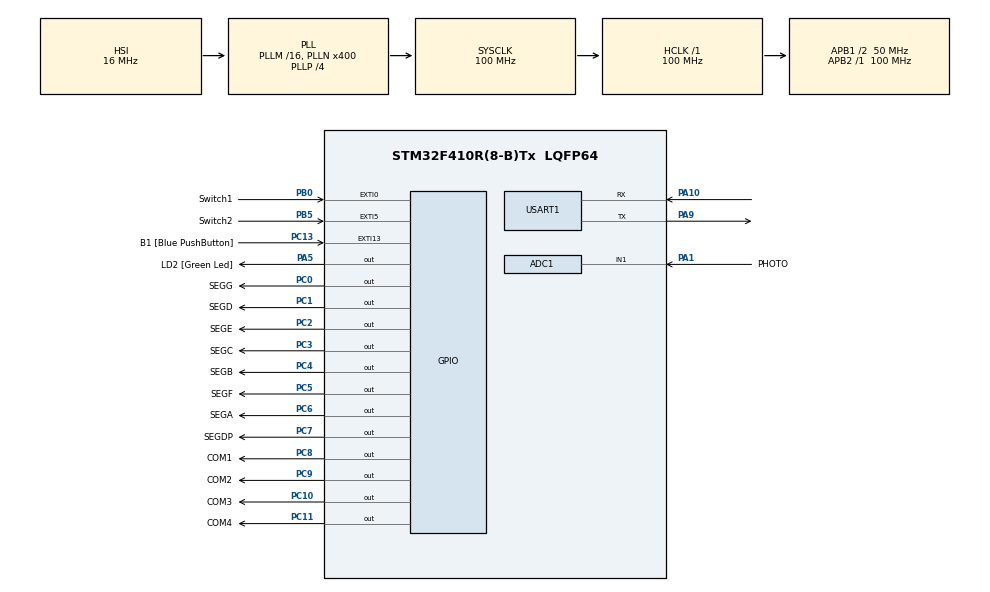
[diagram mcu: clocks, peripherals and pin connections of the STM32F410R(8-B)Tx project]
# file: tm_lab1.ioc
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ADC1.Channel-0\#ChannelRegularConversion=ADC_CHANNEL_1
ADC1.ClockPrescaler=ADC_CLOCK_SYNC_PCLK_DIV8
ADC1.ContinuousConvMode=ENABLE
ADC1.NbrOfConversionFlag=1
ADC1.Rank-0\#ChannelRegularConversion=1
ADC1.SamplingTime-0\#ChannelRegularConversion=ADC_SAMPLETIME_480CYCLES
ADC1.ScanConvMode=ENABLE
ADC1.master=1
Dma.Request0=USART1_RX
Dma.Request1=USART1_TX
Dma.USART1_RX.0.Direction=DMA_PERIPH_TO_MEMORY
Dma.USART1_RX.0.FIFOMode=DMA_FIFOMODE_DISABLE
Dma.USART1_RX.0.Instance=DMA2_Stream2
Dma.USART1_RX.0.MemDataAlignment=DMA_MDATAALIGN_BYTE
Dma.USART1_RX.0.MemInc=DMA_MINC_ENABLE
Dma.USART1_RX.0.Mode=DMA_NORMAL
Dma.USART1_RX.0.PeriphDataAlignment=DMA_PDATAALIGN_BYTE
Dma.USART1_RX.0.PeriphInc=DMA_PINC_DISABLE
Dma.USART1_RX.0.Priority=DMA_PRIORITY_LOW
Dma.USART1_TX.1.Direction=DMA_MEMORY_TO_PERIPH
Dma.USART1_TX.1.FIFOMode=DMA_FIFOMODE_DISABLE
Dma.USART1_TX.1.Instance=DMA2_Stream7
Dma.USART1_TX.1.MemDataAlignment=DMA_MDATAALIGN_BYTE
Dma.USART1_TX.1.MemInc=DMA_MINC_ENABLE
Dma.USART1_TX.1.Mode=DMA_NORMAL
Dma.USART1_TX.1.PeriphDataAlignment=DMA_PDATAALIGN_BYTE
Dma.USART1_TX.1.PeriphInc=DMA_PINC_DISABLE
Dma.USART1_TX.1.Priority=DMA_PRIORITY_LOW
Mcu.Family=STM32F4
Mcu.Name=STM32F410R(8-B)Tx
Mcu.Package=LQFP64
NVIC.ADC_IRQn=true\:0\:0\:false\:false\:true
NVIC.DMA2_Stream2_IRQn=true\:0\:0\:false\:false\:true
NVIC.DMA2_Stream7_IRQn=true\:0\:0\:false\:false\:true
NVIC.EXTI0_IRQn=true\:0\:0\:false\:false\:true
NVIC.EXTI9_5_IRQn=true\:0\:0\:false\:false\:true
NVIC.PriorityGroup=NVIC_PRIORITYGROUP_0
NVIC.TIM1_TRG_COM_TIM11_IRQn=true\:0\:0\:false\:false\:true
NVIC.USART1_IRQn=true\:0\:0\:false\:false\:true
PA1.GPIO_Label=PHOTO
PA1.Signal=ADCx_IN1
PA10.Mode=Asynchronous
PA10.Signal=USART1_RX
PA13.GPIO_Label=TMS
PA13.Signal=SYS_JTMS-SWDIO
PA14.GPIO_Label=TCK
PA14.Signal=SYS_JTCK-SWCLK
PA2.GPIO_Label=USART_TX
PA2.GPIO_Mode=GPIO_MODE_AF_PP
PA2.GPIO_PuPd=GPIO_NOPULL
PA2.GPIO_Speed=GPIO_SPEED_FREQ_VERY_HIGH
PA2.Signal=USART2_TX
PA3.GPIO_Label=USART_RX
PA3.GPIO_Mode=GPIO_MODE_AF_PP
PA3.GPIO_PuPd=GPIO_NOPULL
PA3.GPIO_Speed=GPIO_SPEED_FREQ_VERY_HIGH
PA3.Signal=USART2_RX
PA5.GPIO_Label=LD2 [Green Led]
PA5.GPIO_ModeDefaultOutputPP=GPIO_MODE_OUTPUT_PP
PA5.GPIO_PuPd=GPIO_NOPULL
PA5.GPIO_Speed=GPIO_SPEED_FREQ_LOW
PA5.Signal=GPIO_Output
PA9.Mode=Asynchronous
PA9.Signal=USART1_TX
PB0.GPIO_Label=Switch1
PB0.GPIO_ModeDefaultEXTI=GPIO_MODE_IT_FALLING
PB0.GPIO_PuPd=GPIO_PULLUP
PB0.Signal=GPXTI0
PB3.GPIO_Label=SWO
PB3.Signal=SYS_JTDO-SWO
PB5.GPIO_Label=Switch2
PB5.GPIO_ModeDefaultEXTI=GPIO_MODE_IT_FALLING
PB5.GPIO_PuPd=GPIO_PULLUP
PB5.Signal=GPXTI5
PC0.GPIO_Label=SEGG
PC0.Signal=GPIO_Output
PC1.GPIO_Label=SEGD
PC1.Signal=GPIO_Output
PC10.GPIO_Label=COM3
PC10.PinState=GPIO_PIN_SET
PC10.Signal=GPIO_Output
PC11.GPIO_Label=COM4
PC11.PinState=GPIO_PIN_SET
PC11.Signal=GPIO_Output
PC13-ANTI_TAMP.GPIO_Label=B1 [Blue PushButton]
PC13-ANTI_TAMP.GPIO_ModeDefaultEXTI=GPIO_MODE_IT_FALLING
PC13-ANTI_TAMP.GPIO_PuPd=GPIO_NOPULL
PC13-ANTI_TAMP.Signal=GPXTI13
PC14-OSC32_IN.Signal=RCC_OSC32_IN
PC15-OSC32_OUT.Signal=RCC_OSC32_OUT
PC2.GPIO_Label=SEGE
PC2.Signal=GPIO_Output
PC3.GPIO_Label=SEGC
PC3.Signal=GPIO_Output
PC4.GPIO_Label=SEGB
PC4.Signal=GPIO_Output
PC5.GPIO_Label=SEGF
PC5.Signal=GPIO_Output
PC6.GPIO_Label=SEGA
PC6.Signal=GPIO_Output
PC7.GPIO_Label=SEGDP
PC7.Signal=GPIO_Output
PC8.GPIO_Label=COM1
PC8.PinState=GPIO_PIN_SET
PC8.Signal=GPIO_Output
PC9.GPIO_Label=COM2
PC9.PinState=GPIO_PIN_SET
PC9.Signal=GPIO_Output
PH0\ -\ OSC_IN.Signal=RCC_OSC_IN
PH1\ -\ OSC_OUT.Signal=RCC_OSC_OUT
ProjectManager.HeapSize=0x200
ProjectManager.StackSize=0x400
ProjectManager.TargetToolchain=SW4STM32
RCC.48MHZClocksFreq_Value=100000000
RCC.AHBFreq_Value=100000000
RCC.APB1CLKDivider=RCC_HCLK_DIV2
RCC.APB1Freq_Value=50000000
RCC.APB1TimFreq_Value=100000000
RCC.APB2Freq_Value=100000000
RCC.APB2TimFreq_Value=100000000
RCC.CortexFreq_Value=100000000
RCC.FLatency-AdvancedSettings=FLASH_LATENCY_3
RCC.HCLKFreq_Value=100000000
RCC.HSE_VALUE=8000000
RCC.HSI_VALUE=16000000
RCC.LSE_VALUE=32768
RCC.PLLN=400
RCC.PLLP=RCC_PLLP_DIV4
RCC.SYSCLKFreq_VALUE=100000000
RCC.SYSCLKSource=RCC_SYSCLKSOURCE_PLLCLK
RCC.VCOOutputFreq_Value=400000000
SH.ADCx_IN1.0=ADC1_IN1,IN1
TIM11.Period=50
TIM11.Prescaler=10000
USART1.VirtualMode=VM_ASYNC
VP_TIM11_VS_ClockSourceINT.Mode=Enable_Timer
board=NUCLEO-F410RB

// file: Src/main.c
/**
  ******************************************************************************
  * File Name          : main.c
  * Description        : Main program body
  ******************************************************************************
  ** This notice applies to any and all portions of this file
  * that are not between comment pairs USER CODE BEGIN and
  * USER CODE END. Other portions of this file, whether
  * inserted by the user or by software development tools
  * are owned by their respective copyright owners.
  *
  * COPYRIGHT(c) 2017 STMicroelectronics
  *
  * Redistribution and use in source and binary forms, with or without modification,
  * are permitted provided that the following conditions are met:
  *   1. Redistributions of source code must retain the above copyright notice,
  *      this list of conditions and the following disclaimer.
  *   2. Redistributions in binary form must reproduce the above copyright notice,
  *      this list of conditions and the following disclaimer in the documentation
  *      and/or other materials provided with the distribution.
  *   3. Neither the name of STMicroelectronics nor the names of its contributors
  *      may be used to endorse or promote products derived from this software
  *      without specific prior written permission.
  *
  * THIS SOFTWARE IS PROVIDED BY THE COPYRIGHT HOLDERS AND CONTRIBUTORS "AS IS"
  * AND ANY EXPRESS OR IMPLIED WARRANTIES, INCLUDING, BUT NOT LIMITED TO, THE
  * IMPLIED WARRANTIES OF MERCHANTABILITY AND FITNESS FOR A PARTICULAR PURPOSE ARE
  * DISCLAIMED. IN NO EVENT SHALL THE COPYRIGHT HOLDER OR CONTRIBUTORS BE LIABLE
  * FOR ANY DIRECT, INDIRECT, INCIDENTAL, SPECIAL, EXEMPLARY, OR CONSEQUENTIAL
  * DAMAGES (INCLUDING, BUT NOT LIMITED TO, PROCUREMENT OF SUBSTITUTE GOODS OR
  * SERVICES; LOSS OF USE, DATA, OR PROFITS; OR BUSINESS INTERRUPTION) HOWEVER
  * CAUSED AND ON ANY THEORY OF LIABILITY, WHETHER IN CONTRACT, STRICT LIABILITY,
  * OR TORT (INCLUDING NEGLIGENCE OR OTHERWISE) ARISING IN ANY WAY OUT OF THE USE
  * OF THIS SOFTWARE, EVEN IF ADVISED OF THE POSSIBILITY OF SUCH DAMAGE.
  *
  ******************************************************************************
  */
#include "main.h"
#include "stm32f4xx_hal.h"
#include "adc.h"
#include "dma.h"
#include "tim.h"
#include "usart.h"
#include "gpio.h"

/* USER CODE BEGIN PV */
/* Private variables ---------------------------------------------------------*/
#define SETA HAL_GPIO_WritePin(SEGA_GPIO_Port, SEGA_Pin, GPIO_PIN_SET)
#define SETB HAL_GPIO_WritePin(SEGB_GPIO_Port, SEGB_Pin, GPIO_PIN_SET)
#define SETC HAL_GPIO_WritePin(SEGC_GPIO_Port, SEGC_Pin, GPIO_PIN_SET)
#define SETD HAL_GPIO_WritePin(SEGD_GPIO_Port, SEGD_Pin, GPIO_PIN_SET)
#define SETE HAL_GPIO_WritePin(SEGE_GPIO_Port, SEGE_Pin, GPIO_PIN_SET)
#define SETF HAL_GPIO_WritePin(SEGF_GPIO_Port, SEGF_Pin, GPIO_PIN_SET)
#define SETG HAL_GPIO_WritePin(SEGG_GPIO_Port, SEGG_Pin, GPIO_PIN_SET)
#define SETDP HAL_GPIO_WritePin(SEGDP_GPIO_Port, SEGDP_Pin, GPIO_PIN_SET)

#define RESETA HAL_GPIO_WritePin(SEGA_GPIO_Port, SEGA_Pin, GPIO_PIN_RESET)
#define RESETB HAL_GPIO_WritePin(SEGB_GPIO_Port, SEGB_Pin, GPIO_PIN_RESET)
#define RESETC HAL_GPIO_WritePin(SEGC_GPIO_Port, SEGC_Pin, GPIO_PIN_RESET)
#define RESETD HAL_GPIO_WritePin(SEGD_GPIO_Port, SEGD_Pin, GPIO_PIN_RESET)
#define RESETE HAL_GPIO_WritePin(SEGE_GPIO_Port, SEGE_Pin, GPIO_PIN_RESET)
#define RESETF HAL_GPIO_WritePin(SEGF_GPIO_Port, SEGF_Pin, GPIO_PIN_RESET)
#define RESETG HAL_GPIO_WritePin(SEGG_GPIO_Port, SEGG_Pin, GPIO_PIN_RESET)
#define RESETDP HAL_GPIO_WritePin(SEGDP_GPIO_Port, SEGDP_Pin, GPIO_PIN_RESET)

#define COM1ON HAL_GPIO_WritePin(COM1_GPIO_Port, COM1_Pin, GPIO_PIN_RESET)
#define COM2ON HAL_GPIO_WritePin(COM2_GPIO_Port, COM2_Pin, GPIO_PIN_RESET)
#define COM3ON HAL_GPIO_WritePin(COM3_GPIO_Port, COM3_Pin, GPIO_PIN_RESET)
#define COM4ON HAL_GPIO_WritePin(COM4_GPIO_Port, COM4_Pin, GPIO_PIN_RESET)

#define COM1OFF HAL_GPIO_WritePin(COM1_GPIO_Port, COM1_Pin, GPIO_PIN_SET)
#define COM2OFF HAL_GPIO_WritePin(COM2_GPIO_Port, COM2_Pin, GPIO_PIN_SET)
#define COM3OFF HAL_GPIO_WritePin(COM3_GPIO_Port, COM3_Pin, GPIO_PIN_SET)
#define COM4OFF HAL_GPIO_WritePin(COM4_GPIO_Port, COM4_Pin, GPIO_PIN_SET)

int8_t dig1, dig2, dig3, dig4;
uint16_t photo;
uint8_t flag;
/* USER CODE END PV */

void SystemClock_Config(void);

/* USER CODE BEGIN PFP */
/* Private function prototypes -----------------------------------------------*/
void bcd2seg(int8_t digit) {
	RESETA;
	RESETB;
	RESETC;
	RESETD;
	RESETE;
	RESETF;
	RESETG;
	RESETDP;
	switch (digit) {
	case 0:
		SETA;
		SETB;
		SETC;
		SETD;
		SETE;
		SETF;
		break;
	case 1:
		SETB;
		SETC;
		break;
	case 2:
		SETA;
		SETB;
		SETG;
		SETE;
		SETD;
		break;
	case 3:
		SETA;
		SETB;
		SETG;
		SETC;
		SETD;
		break;
	case 4:
		SETF;
		SETG;
		SETB;
		SETC;
		break;
	case 5:
		SETA;
		SETF;
		SETG;
		SETC;
		SETD;
		break;
	case 6:
		SETF;
		SETE;
		SETD;
		SETC;
		SETG;
		break;
	case 7:
		SETA;
		SETB;
		SETC;
		break;
	case 8:
		SETA;
		SETB;
		SETC;
		SETD;
		SETE;
		SETF;
		SETG;
		break;
	case 9:
		SETA;
		SETB;
		SETC;
		SETF;
		SETG;
		break;
		// with DP
	case 10:
		SETA;
		SETB;
		SETC;
		SETD;
		SETE;
		SETF;
		SETDP;
		break;
	case 11:
		SETB;
		SETC;
		SETDP;
		break;
	case 12:
		SETA;
		SETB;
		SETG;
		SETE;
		SETD;
		SETDP;
		break;
	case 13:
		SETA;
		SETB;
		SETG;
		SETC;
		SETD;
		SETDP;
		break;
	case 14:
		SETF;
		SETG;
		SETB;
		SETC;
		SETDP;
		break;
	case 15:
		SETA;
		SETF;
		SETG;
		SETC;
		SETD;
		SETDP;
		break;
	case 16:
		SETF;
		SETE;
		SETD;
		SETC;
		SETG;
		SETDP;
		break;
	case 17:
		SETA;
		SETB;
		SETC;
		SETDP;
		break;
	case 18:
		SETA;
		SETB;
		SETC;
		SETD;
		SETE;
		SETF;
		SETG;
		SETDP;
		break;
	case 19:
		SETA;
		SETB;
		SETC;
		SETF;
		SETG;
		SETDP;
		break;
		// middle segment SET with DP (20) and without (21)
	case 20:
		SETG;
		SETDP;
		break;
	case 21:
		SETG;
		break;
	default:
		RESETA;
		RESETB;
		RESETC;
		RESETD;
		RESETE;
		RESETF;
		RESETG;
		RESETDP;
		break;
	}
}

void number2dig(uint16_t number) {
	uint8_t temp_dig2, temp_dig3, temp_dig4;

	temp_dig4 = (number / 1000);
	dig4 = temp_dig4;
	if (!temp_dig4) {
		if (number < 1000)
			dig4 = -1;
	}

	temp_dig3 = ((number - temp_dig4 * 1000) / 100);
	dig3 = temp_dig3; //for digit with DP
	if (!temp_dig3)
		if (number < 100)
			dig3 = -1;

	temp_dig2 = ((number - temp_dig4 * 1000 - temp_dig3 * 100) / 10);
	dig2 = temp_dig2;
	if (!temp_dig2)
		if (number < 10)
			dig2 = -1;

	dig1 = (number - temp_dig4 * 1000 - temp_dig3 * 100 - temp_dig2 * 10);
}

//void HAL_SYSTICK_Callback(void) { //1kHz
//	static uint8_t segment = 1;
//	static uint16_t cnt1hz = 0;
//	static uint8_t cnt200hz = 0;
//	static uint16_t number = 0;
//
//	cnt1hz++;
//	cnt200hz++;
//	if (cnt1hz == 100) {
//		cnt1hz = 0;
//		number++;
//		if (number == 10000) {
//			number = 0;
//		}
//	}
//
//	number2dig(number);
//	if (cnt200hz == 5) {
//		cnt200hz = 0;
//		COM1OFF;
//		COM2OFF;
//		COM3OFF;
//		COM4OFF;
//
//		switch (segment) {
//		case 1:
//			COM1ON;
//			bcd2seg(dig1);
//			break;
//		case 2:
//			COM2ON;
//			bcd2seg(dig2);
//			break;
//		case 3:
//			COM3ON;
//			bcd2seg(dig3);
//			break;
//		case 4:
//			COM4ON;
//			bcd2seg(dig4);
//			break;
//		}
//
//		segment++;
//		if (segment > 4)
//			segment = 1;
//
//	}
//}

void HAL_TIM_PeriodElapsedCallback(TIM_HandleTypeDef *htim) {
	if (htim->Instance == TIM11) {
		static uint8_t segment = 1;
		static uint16_t cnt1hz = 0;
		static uint16_t number = 0;
		COM1OFF;
		COM2OFF;
		COM3OFF;
		COM4OFF;

		cnt1hz++;
		if (cnt1hz == 200) {
			cnt1hz = 0;
			number++;
			if (number == 10000) {
				number = 0;
			}
		}

		if (flag) {
			number2dig(photo);
		} else {
			number2dig(number);
		}

		switch (segment) {
		case 1:
			COM1ON;
			bcd2seg(dig1);
			break;
		case 2:
			COM2ON;
			bcd2seg(dig2);
			break;
		case 3:
			COM3ON;
			bcd2seg(dig3);
			break;
		case 4:
			COM4ON;
			bcd2seg(dig4);
			break;
		}

		segment++;
		if (segment > 4)
			segment = 1;
	}
}

void HAL_ADC_ConvCpltCallback(ADC_HandleTypeDef* hadc) {
	if (hadc->Instance == ADC1) {
		photo = HAL_ADC_GetValue(&hadc1);
	}
}

void HAL_GPIO_EXTI_Callback(uint16_t GPIO_Pin) {
	switch (GPIO_Pin) {
	case Switch1_Pin:
		flag = 1;
		break;
	case Switch2_Pin:
		flag = 0;
		break;
	default:
		break;
	}
}

/* USER CODE END PFP */

int main(void)
{

  /* USER CODE BEGIN 1 */
	uint8_t data[20], size;
  /* USER CODE END 1 */

  /* MCU Configuration----------------------------------------------------------*/

  /* Reset of all peripherals, Initializes the Flash interface and the Systick. */
  HAL_Init();

  /* Configure the system clock */
  SystemClock_Config();

  /* Initialize all configured peripherals */
  MX_GPIO_Init();
  MX_DMA_Init();
  MX_TIM11_Init();
  MX_ADC1_Init();
  MX_USART1_UART_Init();

  /* USER CODE BEGIN 2 */

	HAL_TIM_Base_Start_IT(&htim11);
	HAL_ADC_Start_IT(&hadc1);
  /* USER CODE END 2 */

  /* Infinite loop */
  /* USER CODE BEGIN WHILE */
	while (1) {
		size = sprintf((char*)data, "%d\n\r", (int)&photo);
		HAL_UART_Transmit_DMA(&huart1, data, size);

  /* USER CODE END WHILE */

	}

}

/** System Clock Configuration
*/
void SystemClock_Config(void)
{

  RCC_OscInitTypeDef RCC_OscInitStruct;
  RCC_ClkInitTypeDef RCC_ClkInitStruct;

    /**Configure the main internal regulator output voltage
    */
  __HAL_RCC_PWR_CLK_ENABLE();

  __HAL_PWR_VOLTAGESCALING_CONFIG(PWR_REGULATOR_VOLTAGE_SCALE1);

    /**Initializes the CPU, AHB and APB busses clocks
    */
  RCC_OscInitStruct.OscillatorType = RCC_OSCILLATORTYPE_HSI;
  RCC_OscInitStruct.HSIState = RCC_HSI_ON;
  RCC_OscInitStruct.HSICalibrationValue = 16;
  RCC_OscInitStruct.PLL.PLLState = RCC_PLL_ON;
  RCC_OscInitStruct.PLL.PLLSource = RCC_PLLSOURCE_HSI;
  RCC_OscInitStruct.PLL.PLLM = 16;
  RCC_OscInitStruct.PLL.PLLN = 400;
  RCC_OscInitStruct.PLL.PLLP = RCC_PLLP_DIV4;
  RCC_OscInitStruct.PLL.PLLQ = 4;
  RCC_OscInitStruct.PLL.PLLR = 2;
  if (HAL_RCC_OscConfig(&RCC_OscInitStruct) != HAL_OK)
  {
    _Error_Handler(__FILE__, __LINE__);
  }

    /**Initializes the CPU, AHB and APB busses clocks
    */
  RCC_ClkInitStruct.ClockType = RCC_CLOCKTYPE_HCLK|RCC_CLOCKTYPE_SYSCLK
                              |RCC_CLOCKTYPE_PCLK1|RCC_CLOCKTYPE_PCLK2;
  RCC_ClkInitStruct.SYSCLKSource = RCC_SYSCLKSOURCE_PLLCLK;
  RCC_ClkInitStruct.AHBCLKDivider = RCC_SYSCLK_DIV1;
  RCC_ClkInitStruct.APB1CLKDivider = RCC_HCLK_DIV2;
  RCC_ClkInitStruct.APB2CLKDivider = RCC_HCLK_DIV1;

  if (HAL_RCC_ClockConfig(&RCC_ClkInitStruct, FLASH_LATENCY_3) != HAL_OK)
  {
    _Error_Handler(__FILE__, __LINE__);
  }

    /**Configure the Systick interrupt time
    */
  HAL_SYSTICK_Config(HAL_RCC_GetHCLKFreq()/1000);

    /**Configure the Systick
    */
  HAL_SYSTICK_CLKSourceConfig(SYSTICK_CLKSOURCE_HCLK);

  /* SysTick_IRQn interrupt configuration */
  HAL_NVIC_SetPriority(SysTick_IRQn, 0, 0);
}

void _Error_Handler(char * file, int line)
{
	while (1) {
	}
}

/************************ (C) COPYRIGHT STMicroelectronics *****END OF FILE****/
